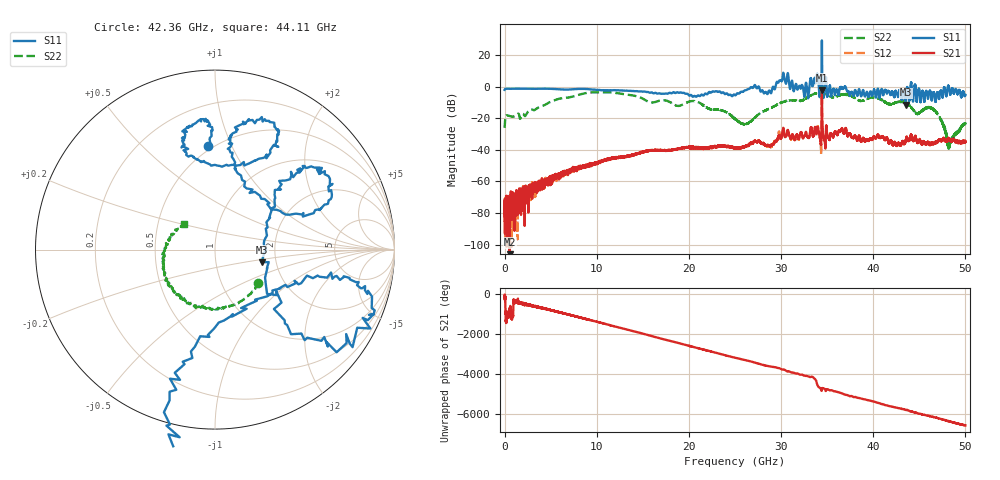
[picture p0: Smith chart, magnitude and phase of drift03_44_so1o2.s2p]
!Created with skrf (http://scikit-rf.org).
# Hz S RI R 50.0
!freq ReS11 ImS11 ReS21 ImS21 ReS12 ImS12 ReS22 ImS22
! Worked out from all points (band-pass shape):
!   10000 points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, 5.3 MHz to 50 GHz, reference 50 ohm
!   highest |S21| = -2.35 dB at 34.43 GHz (marker M1); lowest = -108.1 dB at 555.3 MHz (marker M2)
!   |S21| within 3 dB of the highest: 34.4277 GHz to 34.43444 GHz (6.738 MHz wide, 0.0196 % of centre)
!   lowest |S11| = -11.4 dB at 43.53 GHz (marker M3), VSWR 1.74, Z = 83.9 - j12.6 ohm
!   |S11| at or under -10 dB: 43.49066 GHz to 43.54846 GHz (57.8 MHz wide, 0.133 % of centre)
!   |S22| runs from -39.4 to -3.6 dB; largest |S21 - S12| = 0.25
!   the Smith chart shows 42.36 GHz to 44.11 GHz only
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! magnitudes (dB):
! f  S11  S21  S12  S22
! 5.3 MHz  -2.1  -74.6  -81.4  -26.1
! 555.3 MHz  -1.4  -108.1  -76.6  -18.6
! 2.065 GHz  -1.3  -64.7  -67.8  -17.6
! 8.34 GHz  -1.5  -50.6  -50.3  -4.7
! 16.67 GHz  -4.4  -40.4  -40.4  -9.2
! 20.75 GHz  -6.3  -38.9  -38.8  -9.3
! 25.01 GHz  -5.5  -38.8  -38.8  -20.5
! 26.26 GHz  -2.1  -37.3  -37.2  -23.6
! 28.72 GHz  -2.5  -37.5  -37.6  -14.0
! 30.14 GHz  4.5  -29.2  -29.5  -10.0
! 32.74 GHz  2.0  -29.5  -29.2  -7.3
! 33.34 GHz  2.6  -27.4  -27.7  -5.3
! 33.82 GHz  4.0  -29.0  -29.4  -4.3
! 34.43 GHz  29.1  -2.3  -4.4  -3.9
! 36.48 GHz  -0.4  -27.9  -28.1  -5.2
! 38.88 GHz  -2.3  -32.5  -32.5  -8.9
! 41.67 GHz  -3.0  -35.6  -35.4  -11.0
! 43.53 GHz  -11.4  -34.0  -34.2  -10.3
! 44.74 GHz  -9.0  -34.5  -34.6  -17.1
! 46.65 GHz  -5.0  -35.5  -35.7  -14.8
! 48.25 GHz  -1.7  -33.1  -33.2  -36.4
! 50 GHz  -5.2  -34.9  -35.3  -23.3
